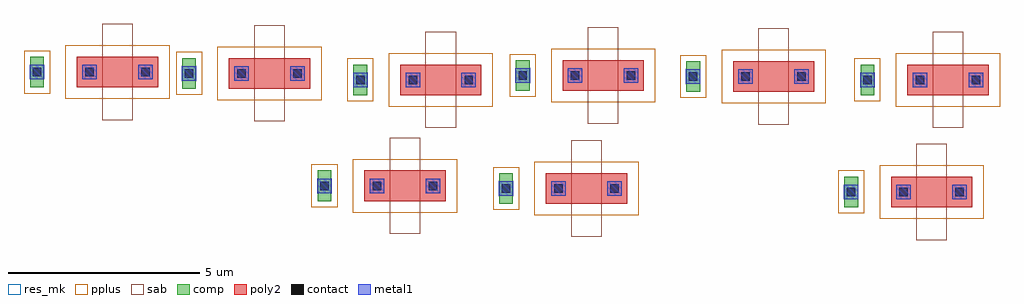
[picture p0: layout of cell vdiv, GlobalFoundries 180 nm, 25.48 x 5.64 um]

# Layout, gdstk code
import gdstk
lib = gdstk.Library(unit=1e-6, precision=5e-09)
def R(c, l, rs):  # rectangles x0, y0, x1, y1
    for r in rs: c.add(gdstk.rectangle(r[:2], r[2:], *l))
comp = (22, 0)
poly2 = (30, 0)
pplus = (31, 0)
contact = (33, 0)
metal1 = (34, 0)
sab = (49, 0)
res_mk = (110, 5)

ppolyf_u_resistor = lib.new_cell('ppolyf_u_resistor')
R(ppolyf_u_resistor, comp, [(-1.88,0,-1.52,0.8)])
R(ppolyf_u_resistor, poly2, [(-0.66,0,1.46,0.8)])
R(ppolyf_u_resistor, pplus, [(-0.96,-0.3,1.76,1.1), (-2.04,-0.16,-1.36,0.96)])
R(ppolyf_u_resistor, contact, [(-1.81,0.29,-1.59,0.51), (-0.44,0.29,-0.22,0.51), (1.02,0.29,1.24,0.51)])
R(ppolyf_u_resistor, metal1, [(-1.89,0.21,-1.51,0.59), (-0.52,0.21,-0.14,0.59), (0.94,0.21,1.32,0.59)])
R(ppolyf_u_resistor, sab, [(0,-0.855,0.8,1.655)])
R(ppolyf_u_resistor, res_mk, [(0,0,0.8,0.8)])

vdiv = lib.new_cell('vdiv')
vdiv.add(gdstk.Reference(ppolyf_u_resistor, (-0.62,-0.165)))
vdiv.add(gdstk.Reference(ppolyf_u_resistor, (3.35,-0.2)))
vdiv.add(gdstk.Reference(ppolyf_u_resistor, (7.82,-0.37)))
vdiv.add(gdstk.Reference(ppolyf_u_resistor, (12.06,-0.255)))
vdiv.add(gdstk.Reference(ppolyf_u_resistor, (16.51,-0.28)))
vdiv.add(gdstk.Reference(ppolyf_u_resistor, (21.06,-0.37)))
vdiv.add(gdstk.Reference(ppolyf_u_resistor, (20.635,-3.295)))
vdiv.add(gdstk.Reference(ppolyf_u_resistor, (11.625,-3.205)))
vdiv.add(gdstk.Reference(ppolyf_u_resistor, (6.885,-3.135)))

lib.write_gds('vdiv.gds')
